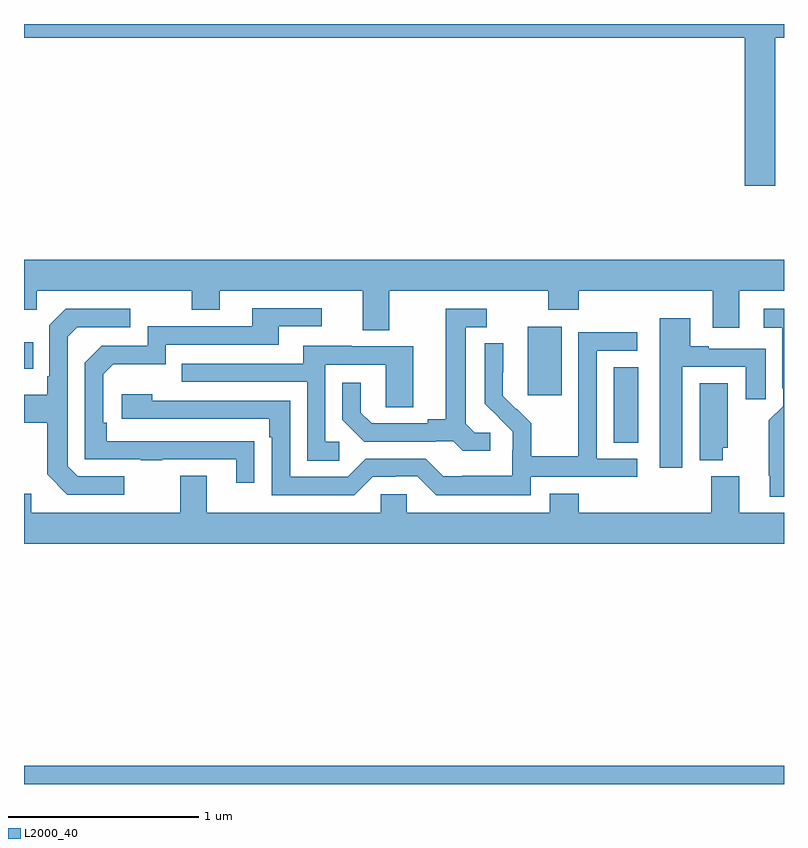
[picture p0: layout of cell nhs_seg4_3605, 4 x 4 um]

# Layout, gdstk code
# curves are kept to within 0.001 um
import gdstk
lib = gdstk.Library(unit=1e-6, precision=1e-09)
def R(c, l, rs):  # rectangles x0, y0, x1, y1
    for r in rs: c.add(gdstk.rectangle(r[:2], r[2:], *l))
def P(c, l, *ps):  # polygons
    for p in ps: c.add(gdstk.Polygon(p, *l))
L2000_40 = (2000, 40)

nhs_seg4_3605 = lib.new_cell('nhs_seg4_3605')
R(nhs_seg4_3605, L2000_40, [(301,784.9,305,784.996), (304.103,786.697,304.234,787.094), (303.65,786.945,303.829,787.306), (301,787.085,301.049,787.225)])
P(nhs_seg4_3605, L2000_40, [(301,788.828),(304.793,788.828),(304.793,788.049),(304.953,788.049),(304.953,788.828),(305,788.828),(305,788.9),(301,788.9)],
  [(302.923,787.496),(303.76,787.496),(303.76,787.397),(303.92,787.397),(303.92,787.496),(304.625,787.496),(304.625,787.302),(304.765,787.302),(304.765,787.496),(305,787.496),(305,787.66),(301,787.66),(301,787.397),(301.068,787.397),(301.068,787.496),(301.882,787.496),(301.882,787.397),(302.029,787.397),(302.029,787.496),(302.783,787.496),(302.783,787.288),(302.923,787.288)],
  [(302.213,786.704),(301.436,786.705),(301.436,786.802),(301.416,786.802),(301.416,787.056),(301.469,787.109),(301.746,787.109),(301.746,787.212),(302.341,787.212),(302.341,787.308),(302.566,787.308),(302.566,787.404),(302.201,787.404),(302.201,787.308),(301.65,787.308),(301.65,787.206),(301.41,787.206),(301.32,787.116),(301.32,786.609),(301.615,786.609),(301.615,786.604),(301.727,786.604),(301.727,786.609),(302.117,786.609),(302.117,786.486),(302.213,786.486)],
  [(305,787.402),(304.893,787.402),(304.893,787.301),(304.991,787.301),(304.991,786.982),(304.995,786.982),(304.995,786.888),(304.921,786.814),(304.921,786.523),(304.925,786.523),(304.925,786.413),(305,786.413)],
  [(303.454,786.75),(303.372,786.75),(303.325,786.797),(303.325,787.305),(303.436,787.305),(303.436,787.401),(303.221,787.401),(303.221,786.821),(303.125,786.821),(303.125,786.798),(302.83,786.798),(302.773,786.855),(302.773,787.012),(302.676,787.012),(302.676,786.818),(302.792,786.702),(303.164,786.702),(303.164,786.705),(303.258,786.705),(303.31,786.653),(303.454,786.653)],
  [(301.528,786.519),(301.284,786.519),(301.23,786.573),(301.23,787.254),(301.281,787.305),(301.558,787.305),(301.558,787.401),(301.221,787.401),(301.134,787.314),(301.134,787.045),(301.122,787.045),(301.122,786.949),(301,786.949),(301,786.802),(301.122,786.802),(301.122,786.529),(301.227,786.423),(301.528,786.423)],
  [(304.465,787.095),(304.799,787.095),(304.799,786.924),(304.903,786.924),(304.903,787.191),(304.603,787.191),(304.603,787.204),(304.507,787.204),(304.507,787.351),(304.346,787.351),(304.346,786.564),(304.465,786.564)],
  [(303.666,786.516),(304.228,786.516),(304.228,786.612),(304.014,786.612),(304.014,787.179),(304.228,787.179),(304.228,787.278),(303.918,787.278),(303.918,786.848),(303.916,786.848),(303.916,786.625),(303.671,786.625),(303.671,786.799),(303.594,786.876),(303.591,786.873),(303.521,786.944),(303.522,787.22),(303.426,787.22),(303.426,786.902),(303.572,786.754),(303.572,786.657),(303.57,786.657),(303.57,786.523),(303.307,786.523),(303.307,786.519),(303.207,786.519),(303.114,786.612),(302.799,786.612),(302.703,786.516),(302.4,786.516),(302.4,786.918),(301.676,786.918),(301.676,786.952),(301.515,786.952),(301.515,786.822),(302.291,786.822),(302.291,786.725),(302.304,786.725),(302.304,786.42),(302.739,786.42),(302.835,786.516),(302.954,786.516),(302.954,786.519),(303.069,786.519),(303.169,786.419),(303.666,786.419)],
  [(302.659,786.702),(302.586,786.702),(302.586,787.107),(302.904,787.107),(302.904,786.883),(303.049,786.883),(303.049,787.203),(302.725,787.203),(302.725,787.207),(302.471,787.207),(302.471,787.113),(301.831,787.113),(301.831,787.017),(302.49,787.017),(302.49,786.601),(302.659,786.601)],
  [(304.678,786.669),(304.705,786.669),(304.705,787.01),(304.556,787.01),(304.556,786.605),(304.678,786.605)],
  [(305,786.328),(304.765,786.328),(304.765,786.52),(304.618,786.52),(304.618,786.328),(303.92,786.328),(303.92,786.427),(303.767,786.427),(303.767,786.328),(303.015,786.328),(303.015,786.426),(302.877,786.426),(302.877,786.328),(301.963,786.328),(301.963,786.523),(301.823,786.523),(301.823,786.328),(301.039,786.328),(301.039,786.427),(301,786.427),(301,786.164),(305,786.164)])

lib.write_gds('nhs_seg4_3605.gds')
